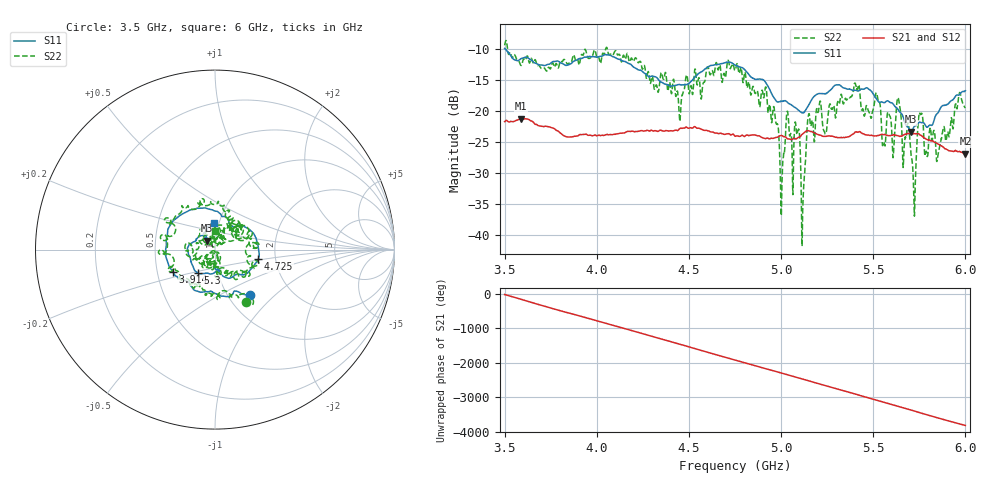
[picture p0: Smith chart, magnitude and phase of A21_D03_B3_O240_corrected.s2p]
! Created with skrf 1.9.0 (http://scikit-rf.org).
# Hz S RI R 50.0
!freq ReS11 ImS11 ReS21 ImS21 ReS12 ImS12 ReS22 ImS22
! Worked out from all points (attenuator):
!   1601 points, 3.5 GHz to 6 GHz, reference 50 ohm
!   highest |S21| = -21.26 dB at 3.591 GHz (marker M1); lowest = -26.9 dB at 6 GHz (marker M2)
!   lowest |S11| = -23.3 dB at 5.705 GHz (marker M3), VSWR 1.15, Z = 45.3 + j4.54 ohm
!   |S11| at or under -10 dB: 3.505 GHz to end of sweep
!   |S22| runs from -41.9 to -8.6 dB; largest |S21 - S12| = 0.001
!   S11 on the Smith chart (normalised r, x): 3.5 GHz: 1.26, -0.71; 3.914 GHz: 0.61, -0.17; 4.725 GHz: 1.62, -0.19; 5.3 GHz: 0.80, -0.21; 6 GHz: 0.94, +0.28
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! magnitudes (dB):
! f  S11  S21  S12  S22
! 3.5 GHz  -9.9  -21.7  -21.7  -9.4
! 3.591 GHz  -11.5  -21.3  -21.2  -12.6
! 3.914 GHz  -11.5  -23.8  -23.8  -11.1
! 3.917 GHz  -11.5  -23.8  -23.8  -10.9
! 4.334 GHz  -14.9  -23.3  -23.2  -16.9
! 4.725 GHz  -12.1  -23.9  -23.8  -13.2
! 4.75 GHz  -12.6  -24.1  -24.0  -13.5
! 4.967 GHz  -18.1  -24.3  -24.3  -20.8
! 5.005 GHz  -18.4  -24.0  -24.0  -31.7
! 5.033 GHz  -18.5  -24.5  -24.4  -20.1
! 5.088 GHz  -19.7  -24.4  -24.4  -23.7
! 5.119 GHz  -20.3  -23.7  -23.6  -34.6
! 5.145 GHz  -19.3  -23.2  -23.1  -21.2
! 5.167 GHz  -18.1  -23.4  -23.3  -21.6
! 5.3 GHz  -15.8  -24.3  -24.2  -20.2
! 5.584 GHz  -18.5  -24.0  -24.0  -20.3
! 5.638 GHz  -19.9  -24.0  -24.0  -18.1
! 5.705 GHz  -23.3  -23.7  -23.7  -27.0
! 5.722 GHz  -22.5  -23.7  -23.6  -35.6
! 5.756 GHz  -21.8  -23.9  -23.9  -20.6
! 5.852 GHz  -20.3  -25.4  -25.3  -27.1
! 6 GHz  -16.7  -26.9  -26.8  -19.5
